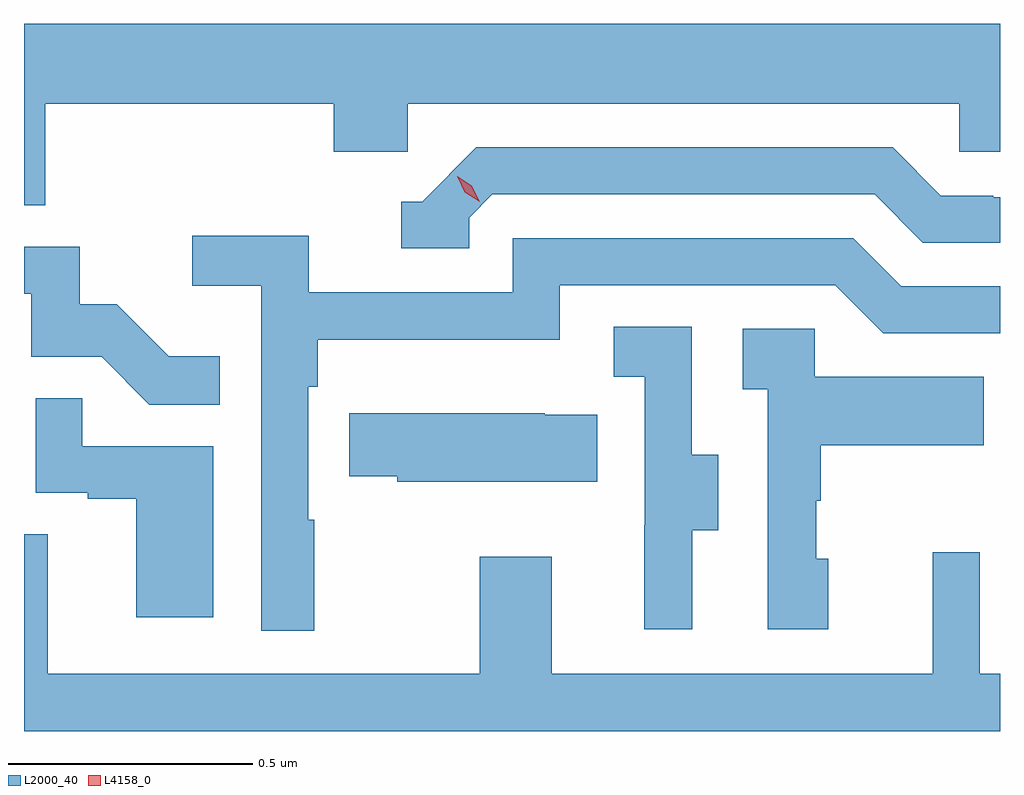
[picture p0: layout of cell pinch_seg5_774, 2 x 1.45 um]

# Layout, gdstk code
import gdstk
lib = gdstk.Library(unit=1e-6, precision=1e-09)
def P(c, l, *ps):  # polygons
    for p in ps: c.add(gdstk.Polygon(p, *l))
L2000_40 = (2000, 40)
L4158_0 = (4158, 0)

pinch_seg5_774 = lib.new_cell('pinch_seg5_774')
P(pinch_seg5_774, L2000_40, [(850.472,911.372),(851.063,911.372),(851.063,911.274),(851.214,911.274),(851.214,911.372),(852.345,911.372),(852.345,911.274),(852.428,911.274),(852.428,911.536),(850.428,911.536),(850.428,911.164),(850.472,911.164)],
  [(851.34,911.139),(851.388,911.187),(852.171,911.187),(852.27,911.088),(852.428,911.088),(852.428,911.181),(852.414,911.181),(852.414,911.184),(852.307,911.184),(852.208,911.283),(851.355,911.283),(851.244,911.172),(851.201,911.172),(851.201,911.076),(851.34,911.076)],
  [(851.023,910.52),(851.01,910.52),(851.01,910.793),(851.03,910.793),(851.03,910.889),(851.526,910.889),(851.526,911.001),(852.09,911.001),(852.189,910.902),(852.428,910.902),(852.428,910.998),(852.226,910.998),(852.127,911.097),(851.43,911.097),(851.43,910.986),(851.012,910.986),(851.012,911.102),(850.773,911.102),(850.773,911),(850.914,911),(850.914,910.293),(851.023,910.293)],
  [(850.829,910.855),(850.725,910.855),(850.618,910.962),(850.542,910.962),(850.542,911.079),(850.428,911.079),(850.428,910.983),(850.443,910.983),(850.443,910.854),(850.587,910.854),(850.685,910.756),(850.829,910.756)],
  [(851.797,910.498),(851.851,910.498),(851.851,910.653),(851.796,910.653),(851.796,910.916),(851.637,910.916),(851.637,910.813),(851.7,910.813),(851.7,910.509),(851.699,910.509),(851.699,910.296),(851.797,910.296)],
  [(852.076,910.44),(852.051,910.44),(852.051,910.559),(852.061,910.559),(852.061,910.673),(852.395,910.673),(852.395,910.813),(852.048,910.813),(852.048,910.911),(851.901,910.911),(851.901,910.787),(851.952,910.787),(851.952,910.296),(852.076,910.296)],
  [(850.816,910.671),(850.547,910.671),(850.547,910.769),(850.452,910.769),(850.452,910.575),(850.559,910.575),(850.559,910.563),(850.658,910.563),(850.658,910.32),(850.816,910.32)],
  [(851.603,910.735),(851.495,910.735),(851.495,910.738),(851.095,910.738),(851.095,910.609),(851.193,910.609),(851.193,910.598),(851.603,910.598)],
  [(852.428,910.204),(852.387,910.204),(852.387,910.453),(852.29,910.453),(852.29,910.204),(851.509,910.204),(851.509,910.444),(851.362,910.444),(851.362,910.204),(850.477,910.204),(850.477,910.49),(850.428,910.49),(850.428,910.087),(852.428,910.087)])
P(pinch_seg5_774, L4158_0, [(851.362,911.172),(851.331,911.191),(851.316,911.224),(851.316,911.224),(851.316,911.224),(851.346,911.204),(851.362,911.172),(851.362,911.172)])

lib.write_gds('pinch_seg5_774.gds')
